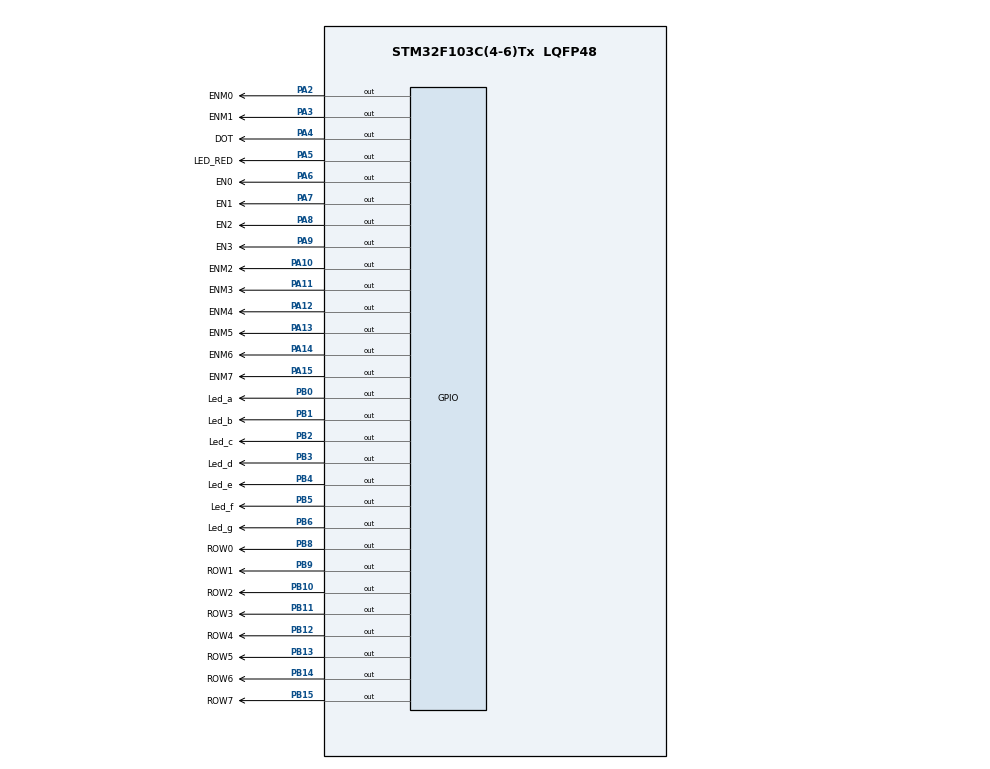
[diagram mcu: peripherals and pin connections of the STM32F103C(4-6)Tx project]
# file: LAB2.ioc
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Mcu.Family=STM32F1
Mcu.Name=STM32F103C(4-6)Tx
Mcu.Package=LQFP48
NVIC.PriorityGroup=NVIC_PRIORITYGROUP_4
NVIC.TIM2_IRQn=true\:0\:0\:false\:false\:true\:true\:true
PA10.GPIO_Label=ENM2
PA10.Signal=GPIO_Output
PA11.GPIO_Label=ENM3
PA11.Signal=GPIO_Output
PA12.GPIO_Label=ENM4
PA12.Signal=GPIO_Output
PA13.GPIO_Label=ENM5
PA13.Signal=GPIO_Output
PA14.GPIO_Label=ENM6
PA14.Signal=GPIO_Output
PA15.GPIO_Label=ENM7
PA15.Signal=GPIO_Output
PA2.GPIO_Label=ENM0
PA2.Signal=GPIO_Output
PA3.GPIO_Label=ENM1
PA3.Signal=GPIO_Output
PA4.GPIO_Label=DOT
PA4.Signal=GPIO_Output
PA5.GPIO_Label=LED_RED
PA5.Signal=GPIO_Output
PA6.GPIO_Label=EN0
PA6.Signal=GPIO_Output
PA7.GPIO_Label=EN1
PA7.Signal=GPIO_Output
PA8.GPIO_Label=EN2
PA8.Signal=GPIO_Output
PA9.GPIO_Label=EN3
PA9.Signal=GPIO_Output
PB0.GPIO_Label=Led_a
PB0.Signal=GPIO_Output
PB1.GPIO_Label=Led_b
PB1.Signal=GPIO_Output
PB10.GPIO_Label=ROW2
PB10.Signal=GPIO_Output
PB11.GPIO_Label=ROW3
PB11.Signal=GPIO_Output
PB12.GPIO_Label=ROW4
PB12.Signal=GPIO_Output
PB13.GPIO_Label=ROW5
PB13.Signal=GPIO_Output
PB14.GPIO_Label=ROW6
PB14.Signal=GPIO_Output
PB15.GPIO_Label=ROW7
PB15.Signal=GPIO_Output
PB2.GPIO_Label=Led_c
PB2.Signal=GPIO_Output
PB3.GPIO_Label=Led_d
PB3.Signal=GPIO_Output
PB4.GPIO_Label=Led_e
PB4.Signal=GPIO_Output
PB5.GPIO_Label=Led_f
PB5.Signal=GPIO_Output
PB6.GPIO_Label=Led_g
PB6.Signal=GPIO_Output
PB8.GPIO_Label=ROW0
PB8.Signal=GPIO_Output
PB9.GPIO_Label=ROW1
PB9.Signal=GPIO_Output
ProjectManager.HeapSize=0x200
ProjectManager.StackSize=0x400
ProjectManager.TargetToolchain=STM32CubeIDE
RCC.APB1Freq_Value=8000000
RCC.APB2Freq_Value=8000000
TIM2.Period=9
TIM2.Prescaler=7999
VP_SYS_VS_ND.Mode=No_Debug
VP_TIM2_VS_ClockSourceINT.Mode=Internal
board=custom

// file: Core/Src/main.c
/* USER CODE BEGIN Header */
/**
  ******************************************************************************
  * @file           : main.c
  * @brief          : Main program body
  ******************************************************************************
  * @attention
  *
  * <h2><center>&copy; Copyright (c) 2023 STMicroelectronics.
  * All rights reserved.</center></h2>
  *
  * This software component is licensed by ST under BSD 3-Clause license,
  * the "License"; You may not use this file except in compliance with the
  * License. You may obtain a copy of the License at:
  *                        opensource.org/licenses/BSD-3-Clause
  *
  ******************************************************************************
  */
/* USER CODE END Header */
#include "main.h"

/* USER CODE BEGIN Includes */
#include "software_timer.h"
/* USER CODE END Includes */

TIM_HandleTypeDef htim2;

void SystemClock_Config(void);
static void MX_GPIO_Init(void);
static void MX_TIM2_Init(void);

/* USER CODE BEGIN 0 */
void display7SEG(int num){
  	char led7seg[10] = {0xC0, 0xF9, 0xA4, 0xB0, 0x99, 0x92, 0x82, 0xF8, 0x80, 0x90};
  	for (int i=0; i < 7; i++){
  		HAL_GPIO_WritePin(GPIOB, Led_a_Pin<<i, (led7seg[num]>>i) & 1);
  	}
}

const int MAX_LED = 4;
int index_led = 0;
int led_buffer[4] = {1, 2, 3, 4};
void update7SEG(int index){
	display7SEG(led_buffer[index]);
	switch(index){
		case 0:
			// Display the first 7 SEG with led_buffer [0]
			HAL_GPIO_WritePin(EN0_GPIO_Port, EN0_Pin, RESET);
			HAL_GPIO_WritePin(EN1_GPIO_Port, EN1_Pin, SET);
			HAL_GPIO_WritePin(EN2_GPIO_Port, EN2_Pin, SET);
			HAL_GPIO_WritePin(EN3_GPIO_Port, EN3_Pin, SET);
			break;
		case 1:
			// Display the second 7 SEG with led_buffer [1]
			HAL_GPIO_WritePin(EN0_GPIO_Port, EN0_Pin, SET);
			HAL_GPIO_WritePin(EN1_GPIO_Port, EN1_Pin, RESET);
			HAL_GPIO_WritePin(EN2_GPIO_Port, EN2_Pin, SET);
			HAL_GPIO_WritePin(EN3_GPIO_Port, EN3_Pin, SET);
			break;
		case 2:
			// Display the third 7 SEG with led_buffer [2]
			HAL_GPIO_WritePin(EN0_GPIO_Port, EN0_Pin, SET);
			HAL_GPIO_WritePin(EN1_GPIO_Port, EN1_Pin, SET);
			HAL_GPIO_WritePin(EN2_GPIO_Port, EN2_Pin, RESET);
			HAL_GPIO_WritePin(EN3_GPIO_Port, EN3_Pin, SET);
			break;
		case 3:
			// Display the forth 7 SEG with led_buffer [3]
			HAL_GPIO_WritePin(EN0_GPIO_Port, EN0_Pin, SET);
			HAL_GPIO_WritePin(EN1_GPIO_Port, EN1_Pin, SET);
			HAL_GPIO_WritePin(EN2_GPIO_Port, EN2_Pin, SET);
			HAL_GPIO_WritePin(EN3_GPIO_Port, EN3_Pin, RESET);
			break;
		default:
			break;
	}
}

void updateClockBuffer(int hour, int minute){
	led_buffer[0] = hour / 10;
	led_buffer[1] = hour % 10;
	led_buffer[2] = minute/10;
	led_buffer[3] = minute % 10;
}

void display_col(int num){ //assign value for column
	HAL_GPIO_WritePin(GPIOA,GPIO_PIN_2,(num>>0)&0x01);
	HAL_GPIO_WritePin(GPIOA,GPIO_PIN_3,(num>>1)&0x01);
	HAL_GPIO_WritePin(GPIOA,GPIO_PIN_10,(num>>2)&0x01);
	HAL_GPIO_WritePin(GPIOA,GPIO_PIN_11,(num>>3)&0x01);
	HAL_GPIO_WritePin(GPIOA,GPIO_PIN_12,(num>>4)&0x01);
	HAL_GPIO_WritePin(GPIOA,GPIO_PIN_13,(num>>5)&0x01);
	HAL_GPIO_WritePin(GPIOA,GPIO_PIN_14,(num>>6)&0x01);
	HAL_GPIO_WritePin(GPIOA,GPIO_PIN_15,(num>>7)&0x01);
}
void display_row(int num){ //assign value for row
	HAL_GPIO_WritePin(GPIOB,GPIO_PIN_8,(num>>0)&0x01);
	HAL_GPIO_WritePin(GPIOB,GPIO_PIN_9,(num>>1)&0x01);
	HAL_GPIO_WritePin(GPIOB,GPIO_PIN_10,(num>>2)&0x01);
	HAL_GPIO_WritePin(GPIOB,GPIO_PIN_11,(num>>3)&0x01);
	HAL_GPIO_WritePin(GPIOB,GPIO_PIN_12,(num>>4)&0x01);
	HAL_GPIO_WritePin(GPIOB,GPIO_PIN_13,(num>>5)&0x01);
	HAL_GPIO_WritePin(GPIOB,GPIO_PIN_14,(num>>6)&0x01);
	HAL_GPIO_WritePin(GPIOB,GPIO_PIN_15,(num>>7)&0x01);
}

const int MAX_LED_MATRIX = 8;
int index_led_matrix = 0;
uint8_t matrixbuffer[8] = {0x00, 0xFC, 0xFE, 0x33, 0x33, 0xFE, 0xFC, 0x00};
void updateLEDMatrix(int index){
	HAL_GPIO_WritePin(GPIOA, ENM0_Pin|ENM1_Pin|ENM2_Pin|ENM3_Pin
									|ENM4_Pin|ENM5_Pin|ENM6_Pin|ENM7_Pin, 1);
	switch(index){
		case 0:
			HAL_GPIO_WritePin(ENM0_GPIO_Port, ENM0_Pin, 0);
			break;
		case 1:
			HAL_GPIO_WritePin(ENM1_GPIO_Port, ENM1_Pin, 0);
			break;
		case 2:
			HAL_GPIO_WritePin(ENM2_GPIO_Port, ENM2_Pin, 0);
			break;
		case 3:
			HAL_GPIO_WritePin(ENM3_GPIO_Port, ENM3_Pin, 0);
			break;
		case 4:
			HAL_GPIO_WritePin(ENM4_GPIO_Port, ENM4_Pin, 0);
			break;
		case 5:
			HAL_GPIO_WritePin(ENM5_GPIO_Port, ENM5_Pin, 0);
			break;
		case 6:
			HAL_GPIO_WritePin(ENM6_GPIO_Port, ENM6_Pin, 0);
			break;
		case 7:
			HAL_GPIO_WritePin(ENM7_GPIO_Port, ENM7_Pin, 0);
			break;
		default:
			break;
	}

	HAL_GPIO_WritePin(GPIOB, 0xff << 8, 1);
	HAL_GPIO_WritePin(GPIOB, matrixbuffer[index] << 8, 0);
}

void shiftLeft(){
	uint8_t temp = matrixbuffer[0];
	matrixbuffer[0] = matrixbuffer[1];
	matrixbuffer[1] = matrixbuffer[2];
	matrixbuffer[2] = matrixbuffer[3];
	matrixbuffer[3] = matrixbuffer[4];
	matrixbuffer[4] = matrixbuffer[5];
	matrixbuffer[5] = matrixbuffer[6];
	matrixbuffer[6] = matrixbuffer[7];
	matrixbuffer[7] = matrixbuffer[8];
	matrixbuffer[8] = temp;
}
/* USER CODE END 0 */

int main(void)
{

  /* MCU Configuration--------------------------------------------------------*/

  /* Reset of all peripherals, Initializes the Flash interface and the Systick. */
  HAL_Init();

  /* Configure the system clock */
  SystemClock_Config();

  /* Initialize all configured peripherals */
  MX_GPIO_Init();
  MX_TIM2_Init();
  /* USER CODE BEGIN 2 */
  HAL_TIM_Base_Start_IT (&htim2) ;
  /* USER CODE END 2 */

  /* Infinite loop */
  /* USER CODE BEGIN WHILE */
  setTimer1(100);
  setTimer2(25);
  setTimer3(5);
  int hour = 15, minute = 8, second = 50;
  while (1)
  {
	  if(timer1_flag == 1){
		  setTimer1(100);
		  second ++;
		  if(second >= 60){
			  second = 0;
			  minute ++;
		  }
		  if(minute >= 60){
			  minute = 0;
			  hour ++;
		  }
		  if(hour >= 24){
			  hour = 0;
		  }
		  updateClockBuffer(hour, minute);
		  HAL_GPIO_TogglePin(DOT_GPIO_Port, DOT_Pin);
		  HAL_GPIO_TogglePin(LED_RED_GPIO_Port, LED_RED_Pin);
	  }
	  if(timer2_flag == 1){
		  setTimer2(25);
		  update7SEG(index_led);
		  index_led = (index_led + 1) % MAX_LED;
	  }
	  if(timer3_flag == 1){
		  setTimer3(2);
		  updateLEDMatrix(index_led_matrix);
		  index_led_matrix = index_led_matrix + 1;
		  if(index_led_matrix == MAX_LED_MATRIX){
			  index_led_matrix=0;
			  shiftLeft();
		  }
	  }
    /* USER CODE END WHILE */

  }
}

void SystemClock_Config(void)
{
  RCC_OscInitTypeDef RCC_OscInitStruct = {0};
  RCC_ClkInitTypeDef RCC_ClkInitStruct = {0};

  /** Initializes the RCC Oscillators according to the specified parameters
  * in the RCC_OscInitTypeDef structure.
  */
  RCC_OscInitStruct.OscillatorType = RCC_OSCILLATORTYPE_HSI;
  RCC_OscInitStruct.HSIState = RCC_HSI_ON;
  RCC_OscInitStruct.HSICalibrationValue = RCC_HSICALIBRATION_DEFAULT;
  RCC_OscInitStruct.PLL.PLLState = RCC_PLL_NONE;
  if (HAL_RCC_OscConfig(&RCC_OscInitStruct) != HAL_OK)
  {
    Error_Handler();
  }
  /** Initializes the CPU, AHB and APB buses clocks
  */
  RCC_ClkInitStruct.ClockType = RCC_CLOCKTYPE_HCLK|RCC_CLOCKTYPE_SYSCLK
                              |RCC_CLOCKTYPE_PCLK1|RCC_CLOCKTYPE_PCLK2;
  RCC_ClkInitStruct.SYSCLKSource = RCC_SYSCLKSOURCE_HSI;
  RCC_ClkInitStruct.AHBCLKDivider = RCC_SYSCLK_DIV1;
  RCC_ClkInitStruct.APB1CLKDivider = RCC_HCLK_DIV1;
  RCC_ClkInitStruct.APB2CLKDivider = RCC_HCLK_DIV1;

  if (HAL_RCC_ClockConfig(&RCC_ClkInitStruct, FLASH_LATENCY_0) != HAL_OK)
  {
    Error_Handler();
  }
}

static void MX_TIM2_Init(void)
{

  TIM_ClockConfigTypeDef sClockSourceConfig = {0};
  TIM_MasterConfigTypeDef sMasterConfig = {0};

  htim2.Instance = TIM2;
  htim2.Init.Prescaler = 7999;
  htim2.Init.CounterMode = TIM_COUNTERMODE_UP;
  htim2.Init.Period = 9;
  htim2.Init.ClockDivision = TIM_CLOCKDIVISION_DIV1;
  htim2.Init.AutoReloadPreload = TIM_AUTORELOAD_PRELOAD_DISABLE;
  if (HAL_TIM_Base_Init(&htim2) != HAL_OK)
  {
    Error_Handler();
  }
  sClockSourceConfig.ClockSource = TIM_CLOCKSOURCE_INTERNAL;
  if (HAL_TIM_ConfigClockSource(&htim2, &sClockSourceConfig) != HAL_OK)
  {
    Error_Handler();
  }
  sMasterConfig.MasterOutputTrigger = TIM_TRGO_RESET;
  sMasterConfig.MasterSlaveMode = TIM_MASTERSLAVEMODE_DISABLE;
  if (HAL_TIMEx_MasterConfigSynchronization(&htim2, &sMasterConfig) != HAL_OK)
  {
    Error_Handler();
  }

}

static void MX_GPIO_Init(void)
{
  GPIO_InitTypeDef GPIO_InitStruct = {0};

  /* GPIO Ports Clock Enable */
  __HAL_RCC_GPIOA_CLK_ENABLE();
  __HAL_RCC_GPIOB_CLK_ENABLE();

  /*Configure GPIO pin Output Level */
  HAL_GPIO_WritePin(GPIOA, ENM0_Pin|ENM1_Pin|DOT_Pin|LED_RED_Pin
                          |EN0_Pin|EN1_Pin|EN2_Pin|EN3_Pin
                          |ENM2_Pin|ENM3_Pin|ENM4_Pin|ENM5_Pin
                          |ENM6_Pin|ENM7_Pin, GPIO_PIN_RESET);

  /*Configure GPIO pin Output Level */
  HAL_GPIO_WritePin(GPIOB, Led_a_Pin|Led_b_Pin|Led_c_Pin|ROW2_Pin
                          |ROW3_Pin|ROW4_Pin|ROW5_Pin|ROW6_Pin
                          |ROW7_Pin|Led_d_Pin|Led_e_Pin|Led_f_Pin
                          |Led_g_Pin|ROW0_Pin|ROW1_Pin, GPIO_PIN_RESET);

  /*Configure GPIO pins : ENM0_Pin ENM1_Pin DOT_Pin LED_RED_Pin
                           EN0_Pin EN1_Pin EN2_Pin EN3_Pin
                           ENM2_Pin ENM3_Pin ENM4_Pin ENM5_Pin
                           ENM6_Pin ENM7_Pin */
  GPIO_InitStruct.Pin = ENM0_Pin|ENM1_Pin|DOT_Pin|LED_RED_Pin
                          |EN0_Pin|EN1_Pin|EN2_Pin|EN3_Pin
                          |ENM2_Pin|ENM3_Pin|ENM4_Pin|ENM5_Pin
                          |ENM6_Pin|ENM7_Pin;
  GPIO_InitStruct.Mode = GPIO_MODE_OUTPUT_PP;
  GPIO_InitStruct.Pull = GPIO_NOPULL;
  GPIO_InitStruct.Speed = GPIO_SPEED_FREQ_LOW;
  HAL_GPIO_Init(GPIOA, &GPIO_InitStruct);

  /*Configure GPIO pins : Led_a_Pin Led_b_Pin Led_c_Pin ROW2_Pin
                           ROW3_Pin ROW4_Pin ROW5_Pin ROW6_Pin
                           ROW7_Pin Led_d_Pin Led_e_Pin Led_f_Pin
                           Led_g_Pin ROW0_Pin ROW1_Pin */
  GPIO_InitStruct.Pin = Led_a_Pin|Led_b_Pin|Led_c_Pin|ROW2_Pin
                          |ROW3_Pin|ROW4_Pin|ROW5_Pin|ROW6_Pin
                          |ROW7_Pin|Led_d_Pin|Led_e_Pin|Led_f_Pin
                          |Led_g_Pin|ROW0_Pin|ROW1_Pin;
  GPIO_InitStruct.Mode = GPIO_MODE_OUTPUT_PP;
  GPIO_InitStruct.Pull = GPIO_NOPULL;
  GPIO_InitStruct.Speed = GPIO_SPEED_FREQ_LOW;
  HAL_GPIO_Init(GPIOB, &GPIO_InitStruct);

}

/* USER CODE BEGIN 4 */

void HAL_TIM_PeriodElapsedCallback(TIM_HandleTypeDef *htim){
	timerRun();
}

/* USER CODE END 4 */

void Error_Handler(void)
{
  __disable_irq();
  while (1)
  {
  }
}

/************************ (C) COPYRIGHT STMicroelectronics *****END OF FILE****/
